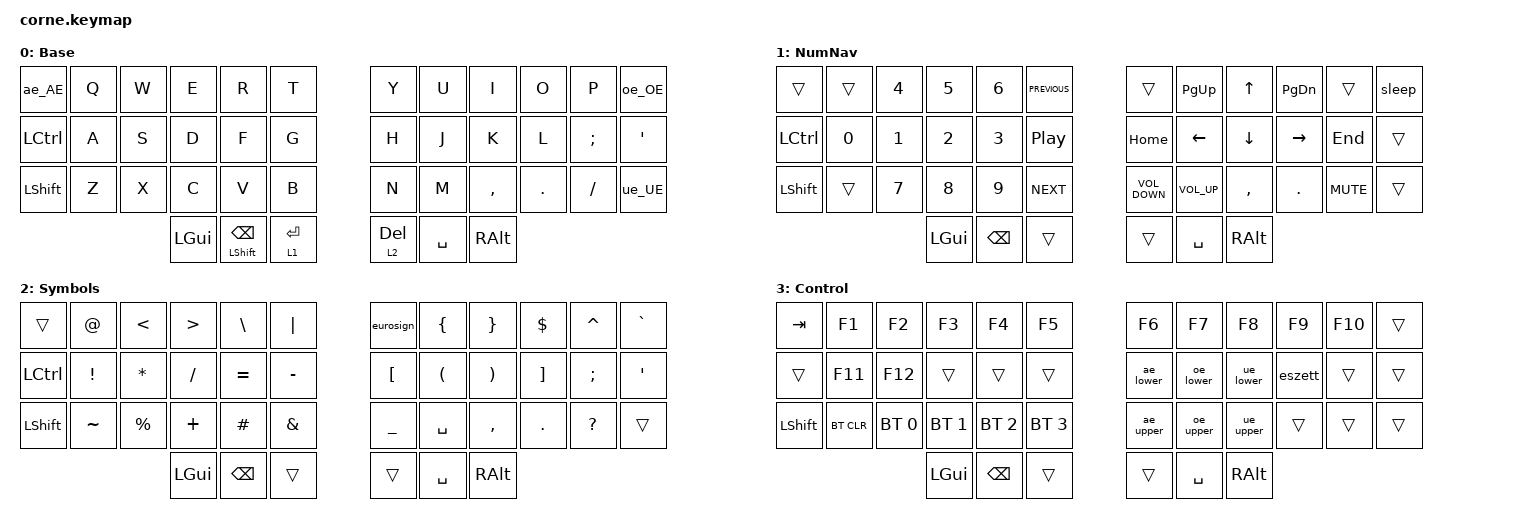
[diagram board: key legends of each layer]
/*
 * Copyright (c) 2020 The ZMK Contributors
 *
 * SPDX-License-Identifier: MIT
 */

#include <behaviors.dtsi>
#include <dt-bindings/zmk/bt.h>
#include <dt-bindings/zmk/keys.h>

/ {
    combos {
        compatible = "zmk,combos";

        combo_esc {
            bindings = <&kp ESCAPE>;
            key-positions = <2 1>;
        };

        combo_ae_AE {
            bindings = <&ae_AE>;
            key-positions = <13 3>;
            layers = <0>;
        };

        combo_oe_OE {
            bindings = <&oe_OE>;
            key-positions = <9 3>;
            layers = <0>;
        };

        combo_ue_UE {
            bindings = <&ue_UE>;
            key-positions = <7 3>;
            layers = <0>;
        };

        combo_tab {
            bindings = <&kp TAB>;
            key-positions = <2 3>;
        };

        combo_leftAlt_space {
            bindings = <&leftAlt_space>;
            key-positions = <37 40>;
        };
    };

    behaviors {
        hml: homewrow_mods_left {
            compatible = "zmk,behavior-hold-tap";
            label = "HOMEROW_MODS_LEFT_HAND";
            #binding-cells = <2>;
            bindings = <&kp>, <&kp>;

            tapping-term-ms = <250>;
            hold-trigger-key-positions = <6 7 8 9 10 11 6 10 11 18 19 20 21 22 23 30 31 32 33 34 35 41 40 39>;
        };

        hmr: homewrow_mods_right {
            compatible = "zmk,behavior-hold-tap";
            label = "HOMEROW_MODS_RIGHT_HAND";
            #binding-cells = <2>;
            bindings = <&kp>, <&kp>;

            tapping-term-ms = <250>;
            hold-trigger-key-positions = <0 1 2 3 4 5 12 13 14 15 16 17 24 25 26 27 28 29 36 37 38>;
        };

        ae_AE: ae_AE {
            compatible = "zmk,behavior-mod-morph";
            label = "AE_AE";
            bindings = <&ae_lower>, <&ae_upper>;

            #binding-cells = <0>;
            mods = <(MOD_LSFT|MOD_RSFT)>;
        };

        oe_OE: oe_OE {
            compatible = "zmk,behavior-mod-morph";
            label = "OE_OE";
            bindings = <&oe_lower>, <&oe_upper>;

            #binding-cells = <0>;
            mods = <(MOD_LSFT|MOD_RSFT)>;
        };

        ue_UE: ue_UE {
            compatible = "zmk,behavior-mod-morph";
            label = "UE_UE";
            bindings = <&ue_lower>, <&ue_upper>;

            #binding-cells = <0>;
            mods = <(MOD_LSFT|MOD_RSFT)>;
        };
    };

    macros {
        sleep: sleep {
            compatible = "zmk,behavior-macro";
            #binding-cells = <0>;
            bindings = <&kp LG(X) &kp R &kp E>;
            label = "SLEEP";
            wait-ms = <200>;
        };

        eurosign: eurosign {
            compatible = "zmk,behavior-macro";
            #binding-cells = <0>;
            wait-ms = <0>;
            tap-ms = <0>;
            bindings =
                <&macro_press>,
                <&kp LALT>,
                <&macro_tap>,
                <&kp KP_N0 &kp KP_N1 &kp KP_N2 &kp KP_N8>,
                <&macro_release>,
                <&kp LALT>;

            label = "EUROSIGN";
        };

        ae_lower: a_lower {
            compatible = "zmk,behavior-macro";
            #binding-cells = <0>;
            wait-ms = <0>;
            tap-ms = <0>;
            bindings =
                <&macro_press>,
                <&kp LALT>,
                <&macro_tap>,
                <&kp KP_N0 &kp KP_N2 &kp KP_N2 &kp KP_N8>,
                <&macro_release>,
                <&kp LALT>;

            label = "A_LOWER";
        };

        ae_upper: a_upper {
            compatible = "zmk,behavior-macro";
            #binding-cells = <0>;
            wait-ms = <0>;
            tap-ms = <0>;
            bindings =
                <&macro_press>,
                <&kp LALT>,
                <&macro_tap>,
                <&kp KP_N0 &kp KP_N1 &kp KP_N9 &kp KP_N6>,
                <&macro_release>,
                <&kp LALT>;

            label = "A_UPPER";
        };

        oe_lower: o_lower {
            compatible = "zmk,behavior-macro";
            #binding-cells = <0>;
            wait-ms = <0>;
            tap-ms = <0>;
            bindings =
                <&macro_press>,
                <&kp LALT>,
                <&macro_tap>,
                <&kp KP_N0 &kp KP_N2 &kp KP_N4 &kp KP_N6>,
                <&macro_release>,
                <&kp LALT>;

            label = "O_LOWER";
        };

        oe_upper: o_upper {
            compatible = "zmk,behavior-macro";
            #binding-cells = <0>;
            wait-ms = <0>;
            tap-ms = <0>;
            bindings =
                <&macro_press>,
                <&kp LALT>,
                <&macro_tap>,
                <&kp KP_N0 &kp KP_N2 &kp KP_N1 &kp KP_N4>,
                <&macro_release>,
                <&kp LALT>;

            label = "O_UPPER";
        };

        ue_lower: u_lower {
            compatible = "zmk,behavior-macro";
            #binding-cells = <0>;
            wait-ms = <0>;
            tap-ms = <0>;
            bindings =
                <&macro_press>,
                <&kp LALT>,
                <&macro_tap>,
                <&kp KP_N0 &kp KP_N2 &kp KP_N5 &kp KP_N2>,
                <&macro_release>,
                <&kp LALT>;

            label = "U_LOWER";
        };

        ue_upper: u_upper {
            compatible = "zmk,behavior-macro";
            #binding-cells = <0>;
            wait-ms = <0>;
            tap-ms = <0>;
            bindings =
                <&macro_press>,
                <&kp LALT>,
                <&macro_tap>,
                <&kp KP_N0 &kp KP_N2 &kp KP_N2 &kp KP_N0>,
                <&macro_release>,
                <&kp LALT>;

            label = "U_UPPER";
        };

        eszett: eszett {
            compatible = "zmk,behavior-macro";
            #binding-cells = <0>;
            wait-ms = <0>;
            tap-ms = <0>;
            bindings =
                <&macro_press>,
                <&kp LALT>,
                <&macro_tap>,
                <&kp KP_N2 &kp KP_N2 &kp KP_N5>,
                <&macro_release>,
                <&kp LALT>;

            label = "ESZETT";
        };

        leftAlt_space: leftAlt_space {
            compatible = "zmk,behavior-macro";
            #binding-cells = <0>;
            bindings =
                <&macro_press>,
                <&kp LEFT_ALT>,
                <&macro_tap>,
                <&kp SPACE>,
                <&macro_release>,
                <&kp LEFT_ALT>;

            label = "LEFTALT_SPACE";
        };
    };

    keymap {
        compatible = "zmk,keymap";

        Base {
            // -----------------------------------------------------------------------------------------
            // |  TAB |  Q  |  W  |  E  |  R  |  T  |   |  Y  |  U   |  I  |  O  |  P  | BSPC |
            // | CTRL |  A  |  S  |  D  |  F  |  G  |   |  H  |  J   |  K  |  L  |  ;  |  '   |
            // | SHFT |  Z  |  X  |  C  |  V  |  B  |   |  N  |  M   |  ,  |  .  |  /  | ESC  |
            //                    | GUI | LWR | SPC |   | ENT | RSE  | ALT |

            bindings = <
&ae_AE            &kp Q  &kp W  &kp E         &kp R                     &kp T          &kp Y         &kp U      &kp I          &kp O    &kp P          &oe_OE
&kp LEFT_CONTROL  &kp A  &kp S  &kp D         &kp F                     &kp G          &kp H         &kp J      &kp K          &kp L    &kp SEMICOLON  &kp SQT
&kp LEFT_SHIFT    &kp Z  &kp X  &kp C         &kp V                     &kp B          &kp N         &kp M      &kp COMMA      &kp DOT  &kp FSLH       &ue_UE
                                &kp LEFT_GUI  &mt LEFT_SHIFT BACKSPACE  &lt 1 ENTER    &lt 2 DELETE  &kp SPACE  &kp RIGHT_ALT
            >;
        };

        NumNav {
            // -----------------------------------------------------------------------------------------
            // |  TAB |  1  |  2  |  3  |  4  |  5  |   |  6  |  7  |  8  |  9  |  0  | BSPC |
            // | BTCLR| BT1 | BT2 | BT3 | BT4 | BT5 |   | LFT | DWN |  UP | RGT |     |      |
            // | SHFT |     |     |     |     |     |   |     |     |     |     |     |      |
            //                    | GUI |     | SPC |   | ENT |     | ALT |

            bindings = <
&trans            &trans  &kp N4  &kp N5        &kp N6         &kp C_PREVIOUS      &trans             &kp PG_UP        &kp UP         &kp PG_DN  &trans      &sleep
&kp LEFT_CONTROL  &kp N0  &kp N1  &kp N2        &kp N3         &kp C_PLAY_PAUSE    &kp HOME           &kp LEFT         &kp DOWN       &kp RIGHT  &kp END     &trans
&kp LEFT_SHIFT    &trans  &kp N7  &kp N8        &kp N9         &kp C_NEXT          &kp C_VOLUME_DOWN  &kp C_VOLUME_UP  &kp COMMA      &kp DOT    &kp C_MUTE  &trans
                                  &kp LEFT_GUI  &kp BACKSPACE  &trans              &trans             &kp SPACE        &kp RIGHT_ALT
            >;
        };

        Symbols {
            // -----------------------------------------------------------------------------------------
            // |  TAB |  !  |  @  |  #  |  $  |  %  |   |  ^  |  &  |  *  |  (  |  )  | BSPC |
            // | CTRL |     |     |     |     |     |   |  -  |  =  |  [  |  ]  |  \  |  `   |
            // | SHFT |     |     |     |     |     |   |  _  |  +  |  {  |  }  | "|" |  ~   |
            //                    | GUI |     | SPC |   | ENT |     | ALT |

            bindings = <
&trans            &kp AT     &kp LESS_THAN  &kp GREATER_THAN  &kp BACKSLASH  &kp PIPE         &eurosign         &kp LBRC              &kp RBRC               &kp DOLLAR         &kp CARET      &kp GRAVE
&kp LEFT_CONTROL  &kp EXCL   &kp ASTERISK   &kp SLASH         &kp EQUAL      &kp MINUS        &kp LEFT_BRACKET  &kp LEFT_PARENTHESIS  &kp RIGHT_PARENTHESIS  &kp RIGHT_BRACKET  &kp SEMICOLON  &kp APOSTROPHE
&kp LEFT_SHIFT    &kp TILDE  &kp PERCENT    &kp PLUS          &kp POUND      &kp AMPERSAND    &kp UNDERSCORE    &kp SPACE             &kp COMMA              &kp PERIOD         &kp QUESTION   &trans
                                            &kp LEFT_GUI      &kp BACKSPACE  &trans           &trans            &kp SPACE             &kp RIGHT_ALT
            >;
        };

        Control {
            bindings = <
&kp TAB         &kp F1      &kp F2        &kp F3        &kp F4         &kp F5          &kp F6     &kp F7     &kp F8         &kp F9   &kp F10  &trans
&trans          &kp F11     &kp F12       &trans        &trans         &trans          &ae_lower  &oe_lower  &ue_lower      &eszett  &trans   &trans
&kp LEFT_SHIFT  &bt BT_CLR  &bt BT_SEL 0  &bt BT_SEL 1  &bt BT_SEL 2   &bt BT_SEL 3    &ae_upper  &oe_upper  &ue_upper      &trans   &trans   &trans
                                          &kp LEFT_GUI  &kp BACKSPACE  &trans          &trans     &kp SPACE  &kp RIGHT_ALT
            >;
        };
    };

    conditional_layers {
        compatible = "zmk,conditional-layers";

        Combo {
            if-layers = <1 2>;
            then-layer = <3>;
        };
    };
};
